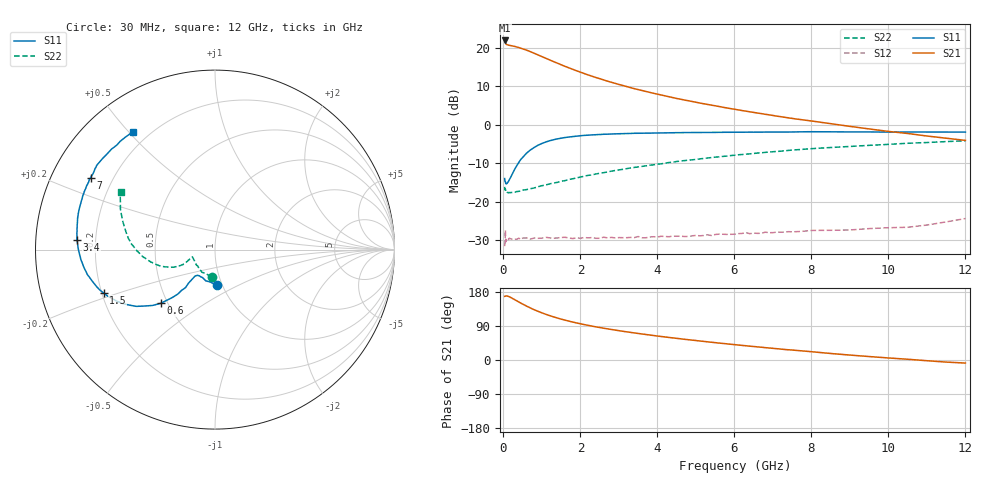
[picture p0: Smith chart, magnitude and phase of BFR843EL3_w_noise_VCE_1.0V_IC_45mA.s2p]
! Infineon Technologies  Discrete & RF Semiconductors
! BFR843EL3
! VCE =  1.0 V,  IC =  45 mA
! Common Emitter S-Parameters:  Aug 2013
# GHz  S  MA  R  50
!  f  S11  S21  S12  S22
! GHz  MAG  ANG  MAG  ANG  MAG  ANG  MAG  ANG
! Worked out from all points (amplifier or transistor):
!   103 points, 30 MHz to 12 GHz, reference 50 ohm
!   highest |S21| = 21.9 dB at 30 MHz (marker M1)
!   |S21| within 3 dB of that: start of sweep to 719.8 MHz
!   unconditionally stable (mu >= 1): start of sweep to end of sweep
!   at 400 MHz: K = 1.48, MAG = 20.7 dB, |S12| = -29.5 dB
!   at 3.7 GHz: K = 1.97, MAG = 13.4 dB, |S12| = -29.4 dB
!   at 12 GHz: K = 3.23, MAG = 2.2 dB, |S12| = -24.4 dB
!   lowest NFmin = 1.64 dB at 450 MHz
!   S11 on the Smith chart (normalised r, x): 30 MHz: 0.95, -0.39; 600 MHz: 0.46, -0.34; 1.5 GHz: 0.21, -0.18; 3.4 GHz: 0.13, +0.04; 7 GHz: 0.12, +0.27; 12 GHz: 0.14, +0.51
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0.03  0.1991 -86.5  12.42 168.0  0.0263 25.9  0.1551 -97.2
0.04  0.1826 -98.4  11.88 168.2  0.029 27.0  0.1425 -111.3
0.05  0.1813 -106.5  11.63 168.3  0.0424 11.8  0.1457 -119.9
0.06  0.1709 -113.8  11.28 169.0  0.03 5.2  0.1366 -131.4
0.08  0.1701 -120.3  11.04 169.1  0.0323 13.0  0.1347 -141.0
0.15  0.1907 -127.2  10.75 167.0  0.0333 9.3  0.1308 -155.2
0.3  0.2678 -127.8  10.37 158.7  0.0324 6.0  0.1323 -162.1
0.45  0.3525 -131.4  9.843 150.2  0.0322 3.5  0.1371 -161.7
0.6  0.4257 -135.3  9.29 142.2  0.0337 4.8  0.1431 -160.2
0.8  0.5052 -141.5  8.457 132.6  0.0336 6.0  0.1503 -159.5
1  0.5691 -147.1  7.655 124.4  0.0335 5.4  0.1608 -158.3
1.2  0.617 -152.2  6.932 117.1  0.0337 4.7  0.1697 -156.9
1.5  0.6663 -158.8  5.993 107.8  0.0341 5.7  0.1834 -155.7
2.1  0.7248 -169.0  4.607 93.4  0.0341 8.3  0.214 -155.3
2.6  0.7492 -175.7  3.814 83.9  0.0344 7.8  0.2373 -156.4
3.4  0.7716 175.9  2.935 71.4  0.034 12.7  0.2777 -159.5
4.1  0.7801 169.9  2.424 62.0  0.0354 14.9  0.3094 -162.5
6.1  0.7971 155.6  1.554 39.6  0.0383 21.8  0.4054 -174.6
7  0.8009 149.9  1.316 30.8  0.0394 24.1  0.4442 179.4
8.5  0.8063 141.1  1.029 17.2  0.0423 27.3  0.5039 169.1
10.5  0.8018 131.2  0.767 2.0  0.0463 34.6  0.5724 157.0
12  0.7994 125.0  0.624 -8.1  0.0601 39.2  0.6154 148.8
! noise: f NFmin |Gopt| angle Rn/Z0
0.45  1.64  0.27  181  0.12
0.9  1.67  0.29  182  0.12
1.5  1.68  0.3  183  0.11
1.9  1.69  0.31  -177  0.12
2.4  1.7  0.33  188  0.11
3.5  1.72  0.36  193  0.12
5.5  1.76  0.42  203  0.11
8  1.81  0.52  216  0.14
10  1.84  0.57  232  0.2
